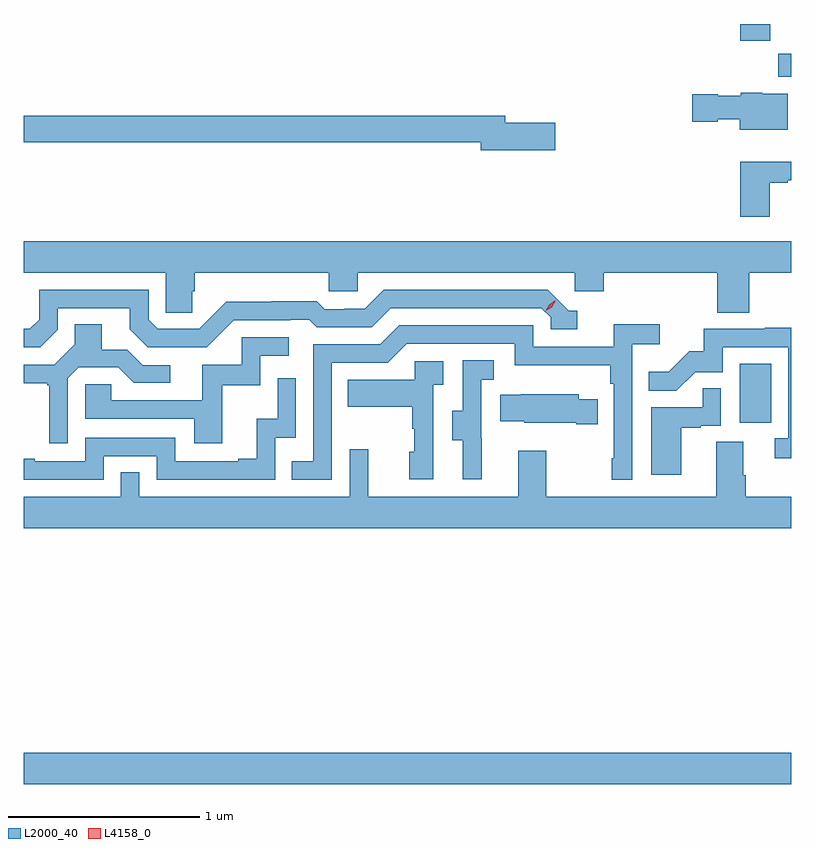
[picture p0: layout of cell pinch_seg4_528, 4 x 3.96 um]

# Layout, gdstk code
import gdstk
lib = gdstk.Library(unit=1e-6, precision=1e-09)
def R(c, l, rs):  # rectangles x0, y0, x1, y1
    for r in rs: c.add(gdstk.rectangle(r[:2], r[2:], *l))
def P(c, l, *ps):  # polygons
    for p in ps: c.add(gdstk.Polygon(p, *l))
L2000_40 = (2000, 40)
L4158_0 = (4158, 0)

pinch_seg4_528 = lib.new_cell('pinch_seg4_528')
R(pinch_seg4_528, L2000_40, [(1114.233,770.18,1118.233,770.344), (1117.964,772.062,1118.128,772.369), (1118.164,773.864,1118.233,773.983), (1117.967,774.052,1118.123,774.139)])
P(pinch_seg4_528, L2000_40, [(1118.215,773.776),(1118.082,773.776),(1118.082,773.782),(1117.968,773.782),(1117.968,773.764),(1117.848,773.764),(1117.848,773.772),(1117.716,773.772),(1117.716,773.63),(1117.848,773.63),(1117.848,773.642),(1117.964,773.642),(1117.964,773.588),(1118.215,773.588)],
  [(1117.003,773.624),(1116.742,773.624),(1116.742,773.66),(1114.233,773.66),(1114.233,773.524),(1116.614,773.524),(1116.614,773.482),(1117.003,773.482)],
  [(1118.119,773.313),(1118.215,773.313),(1118.215,773.325),(1118.233,773.325),(1118.233,773.421),(1118.211,773.421),(1118.211,773.422),(1117.967,773.422),(1117.967,773.136),(1118.119,773.136)],
  [(1114.233,772.844),(1114.974,772.844),(1114.974,772.636),(1115.111,772.636),(1115.111,772.746),(1115.126,772.746),(1115.126,772.844),(1115.823,772.844),(1115.823,772.746),(1115.973,772.746),(1115.973,772.844),(1117.104,772.844),(1117.104,772.746),(1117.256,772.746),(1117.256,772.844),(1117.847,772.844),(1117.847,772.636),(1118.012,772.636),(1118.012,772.844),(1118.233,772.844),(1118.233,773.008),(1114.233,773.008)],
  [(1114.41,772.545),(1114.41,772.659),(1114.787,772.659),(1114.787,772.549),(1114.881,772.455),(1115.187,772.455),(1115.328,772.596),(1115.621,772.596),(1115.621,772.599),(1115.72,772.599),(1115.759,772.56),(1116.048,772.56),(1116.147,772.659),(1116.93,772.659),(1116.978,772.611),(1116.978,772.548),(1117.117,772.548),(1117.117,772.644),(1117.074,772.644),(1116.963,772.755),(1116.11,772.755),(1116.011,772.656),(1115.904,772.656),(1115.904,772.653),(1115.801,772.653),(1115.759,772.696),(1115.526,772.696),(1115.526,772.693),(1115.29,772.693),(1115.148,772.551),(1114.932,772.551),(1114.884,772.599),(1114.884,772.755),(1114.314,772.755),(1114.314,772.599),(1114.266,772.551),(1114.233,772.551),(1114.233,772.455),(1114.32,772.455)],
  [(1115.838,772.374),(1116.129,772.374),(1116.228,772.473),(1116.792,772.473),(1116.792,772.361),(1117.288,772.361),(1117.288,772.265),(1117.308,772.265),(1117.308,771.877),(1117.296,771.877),(1117.296,771.765),(1117.404,771.765),(1117.404,772.472),(1117.546,772.472),(1117.546,772.574),(1117.307,772.574),(1117.307,772.458),(1116.888,772.458),(1116.888,772.569),(1116.191,772.569),(1116.092,772.47),(1115.742,772.47),(1115.742,771.861),(1115.629,771.861),(1115.629,771.765),(1115.838,771.765)],
  [(1114.464,772.293),(1114.521,772.35),(1114.727,772.35),(1114.808,772.269),(1114.996,772.269),(1114.996,772.362),(1114.854,772.362),(1114.774,772.442),(1114.639,772.442),(1114.639,772.574),(1114.499,772.574),(1114.499,772.472),(1114.392,772.365),(1114.233,772.365),(1114.233,772.268),(1114.356,772.268),(1114.356,772.257),(1114.367,772.257),(1114.367,771.954),(1114.464,771.954)],
  [(1118.233,772.556),(1118.095,772.556),(1118.095,772.551),(1117.777,772.551),(1117.777,772.434),(1117.7,772.434),(1117.593,772.327),(1117.489,772.327),(1117.489,772.228),(1117.633,772.228),(1117.731,772.326),(1117.875,772.326),(1117.875,772.455),(1118.217,772.455),(1118.217,771.981),(1118.145,771.981),(1118.145,771.876),(1118.233,771.876)],
  [(1115.267,772.257),(1115.466,772.257),(1115.466,772.41),(1115.614,772.41),(1115.614,772.506),(1115.37,772.506),(1115.37,772.365),(1115.165,772.365),(1115.165,772.179),(1114.691,772.179),(1114.691,772.263),(1114.554,772.263),(1114.554,772.083),(1115.123,772.083),(1115.123,771.954),(1115.267,771.954)],
  [(1116.62,771.981),(1116.618,771.981),(1116.618,772.285),(1116.682,772.285),(1116.682,772.388),(1116.522,772.388),(1116.522,772.125),(1116.467,772.125),(1116.467,771.97),(1116.521,771.97),(1116.521,771.768),(1116.62,771.768)],
  [(1116.366,772.259),(1116.418,772.259),(1116.418,772.383),(1116.27,772.383),(1116.27,772.285),(1115.923,772.285),(1115.923,772.145),(1116.258,772.145),(1116.258,772.031),(1116.268,772.031),(1116.268,771.912),(1116.242,771.912),(1116.242,771.768),(1116.366,771.768)],
  [(1114.65,771.888),(1114.926,771.888),(1114.926,771.765),(1115.544,771.765),(1115.544,771.984),(1115.652,771.984),(1115.652,772.294),(1115.556,772.294),(1115.556,772.082),(1115.447,772.082),(1115.447,771.874),(1115.351,771.874),(1115.351,771.861),(1115.022,771.861),(1115.022,771.984),(1114.554,771.984),(1114.554,771.861),(1114.291,771.861),(1114.291,771.874),(1114.233,771.874),(1114.233,771.765),(1114.65,771.765)],
  [(1117.66,772.035),(1117.76,772.035),(1117.76,772.047),(1117.866,772.047),(1117.866,772.241),(1117.771,772.241),(1117.771,772.143),(1117.502,772.143),(1117.502,771.792),(1117.66,771.792)],
  [(1117.223,772.183),(1117.125,772.183),(1117.125,772.21),(1116.823,772.21),(1116.823,772.207),(1116.715,772.207),(1116.715,772.07),(1116.84,772.07),(1116.84,772.061),(1117.112,772.061),(1117.112,772.054),(1117.223,772.054)],
  [(1118.233,771.676),(1117.994,771.676),(1117.994,771.788),(1117.981,771.788),(1117.981,771.962),(1117.841,771.962),(1117.841,771.676),(1116.957,771.676),(1116.957,771.916),(1116.809,771.916),(1116.809,771.676),(1116.029,771.676),(1116.029,771.925),(1115.931,771.925),(1115.931,771.676),(1114.836,771.676),(1114.836,771.803),(1114.74,771.803),(1114.74,771.676),(1114.233,771.676),(1114.233,771.512),(1118.233,771.512)])
P(pinch_seg4_528, L4158_0, [(1116.954,772.645),(1116.954,772.645),(1116.971,772.677),(1117.001,772.697),(1117.002,772.697),(1117.002,772.696),(1116.985,772.664),(1116.954,772.645)])

lib.write_gds('pinch_seg4_528.gds')
